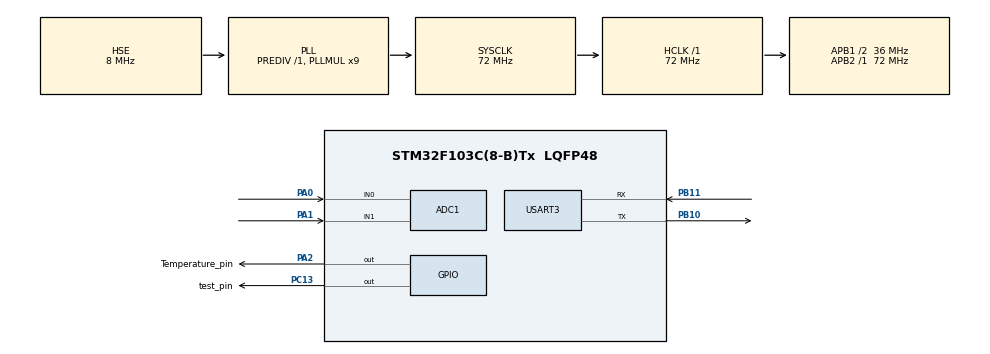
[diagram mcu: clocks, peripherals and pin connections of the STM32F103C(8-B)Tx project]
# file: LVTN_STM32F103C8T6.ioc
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ADC1.Channel-0\#ChannelRegularConversion=ADC_CHANNEL_0
ADC1.Channel-1\#ChannelRegularConversion=ADC_CHANNEL_1
ADC1.ContinuousConvMode=ENABLE
ADC1.NbrOfConversion=2
ADC1.NbrOfConversionFlag=1
ADC1.Rank-0\#ChannelRegularConversion=1
ADC1.Rank-1\#ChannelRegularConversion=2
ADC1.SamplingTime-0\#ChannelRegularConversion=ADC_SAMPLETIME_239CYCLES_5
ADC1.SamplingTime-1\#ChannelRegularConversion=ADC_SAMPLETIME_28CYCLES_5
ADC1.master=1
Dma.ADC1.0.Direction=DMA_PERIPH_TO_MEMORY
Dma.ADC1.0.Instance=DMA1_Channel1
Dma.ADC1.0.MemDataAlignment=DMA_MDATAALIGN_HALFWORD
Dma.ADC1.0.MemInc=DMA_MINC_ENABLE
Dma.ADC1.0.Mode=DMA_CIRCULAR
Dma.ADC1.0.PeriphDataAlignment=DMA_PDATAALIGN_HALFWORD
Dma.ADC1.0.PeriphInc=DMA_PINC_DISABLE
Dma.ADC1.0.Priority=DMA_PRIORITY_LOW
Dma.Request0=ADC1
Mcu.Family=STM32F1
Mcu.Name=STM32F103C(8-B)Tx
Mcu.Package=LQFP48
NVIC.DMA1_Channel1_IRQn=true\:0\:0\:false\:false\:true\:false\:true\:true
NVIC.PriorityGroup=NVIC_PRIORITYGROUP_4
NVIC.TIM2_IRQn=true\:0\:0\:false\:false\:true\:true\:true\:true
PA0-WKUP.Signal=ADCx_IN0
PA1.Signal=ADCx_IN1
PA13.Mode=Serial_Wire
PA13.Signal=SYS_JTMS-SWDIO
PA14.Mode=Serial_Wire
PA14.Signal=SYS_JTCK-SWCLK
PA2.GPIO_Label=Temperature_pin
PA2.Signal=GPIO_Output
PB10.Mode=Asynchronous
PB10.Signal=USART3_TX
PB11.Mode=Asynchronous
PB11.Signal=USART3_RX
PC13-TAMPER-RTC.GPIO_Label=test_pin
PC13-TAMPER-RTC.Signal=GPIO_Output
PD0-OSC_IN.Mode=HSE-External-Oscillator
PD0-OSC_IN.Signal=RCC_OSC_IN
PD1-OSC_OUT.Mode=HSE-External-Oscillator
PD1-OSC_OUT.Signal=RCC_OSC_OUT
ProjectManager.HeapSize=0x200
ProjectManager.StackSize=0x400
ProjectManager.TargetToolchain=STM32CubeIDE
RCC.ADCPresc=RCC_ADCPCLK2_DIV6
RCC.AHBFreq_Value=72000000
RCC.APB1CLKDivider=RCC_HCLK_DIV2
RCC.APB1Freq_Value=36000000
RCC.APB1TimFreq_Value=72000000
RCC.APB2Freq_Value=72000000
RCC.APB2TimFreq_Value=72000000
RCC.HCLKFreq_Value=72000000
RCC.PLLMUL=RCC_PLL_MUL9
RCC.PLLSourceVirtual=RCC_PLLSOURCE_HSE
RCC.SYSCLKFreq_VALUE=72000000
RCC.SYSCLKSource=RCC_SYSCLKSOURCE_PLLCLK
RCC.USBFreq_Value=72000000
SH.ADCx_IN0.0=ADC1_IN0,IN0
SH.ADCx_IN1.0=ADC1_IN1,IN1
TIM2.Period=14400-1
TIM2.Prescaler=50000-1
TIM4.Period=65535-1
TIM4.Prescaler=72-1
USART3.VirtualMode=VM_ASYNC
VP_TIM2_VS_ClockSourceINT.Mode=Internal
VP_TIM4_VS_ClockSourceINT.Mode=Internal
board=custom

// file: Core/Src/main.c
/* USER CODE BEGIN Header */
/**
  ******************************************************************************
  * @file           : main.c
  * @brief          : Main program body
  ******************************************************************************
  * @attention
  *
  * Copyright (c) 2023 STMicroelectronics.
  * All rights reserved.
  *
  * This software is licensed under terms that can be found in the LICENSE file
  * in the root directory of this software component.
  * If no LICENSE file comes with this software, it is provided AS-IS.
  *
  ******************************************************************************
  */
/* USER CODE END Header */
#include "main.h"

/* USER CODE BEGIN Includes */
#include<stdio.h>
#include<string.h>
/* USER CODE END Includes */

ADC_HandleTypeDef hadc1;
DMA_HandleTypeDef hdma_adc1;

TIM_HandleTypeDef htim2;
TIM_HandleTypeDef htim4;

UART_HandleTypeDef huart3;

void SystemClock_Config(void);
static void MX_GPIO_Init(void);
static void MX_DMA_Init(void);
static void MX_ADC1_Init(void);
static void MX_TIM4_Init(void);
static void MX_TIM2_Init(void);
static void MX_USART3_UART_Init(void);

/* USER CODE BEGIN 0 */
float TDS = 0,TDS_THR= 0,PH = 0,PH_THR = 0,Temperature = 0;
float 	ph_a_value = 0,ph_b_value = 0,tds_k_value = 0;
uint16_t ADC_Value[2] = {0};
void delay_us(uint16_t time)
{
    __HAL_TIM_SET_COUNTER(&htim4,0);
    while ((__HAL_TIM_GET_COUNTER(&htim4))<time);
}

/*=====================================DS18B20_Start=================================*/
uint8_t Temp_byte1, Temp_byte2;
uint16_t TEMP;
#define DS18B20_PORT Temperature_pin_GPIO_Port
#define DS18B20_PIN Temperature_pin_Pin

void Set_Pin_Output (GPIO_TypeDef *GPIOx, uint16_t GPIO_Pin)
{
	GPIO_InitTypeDef GPIO_InitStruct = {0};
	GPIO_InitStruct.Pin = GPIO_Pin;
	GPIO_InitStruct.Mode = GPIO_MODE_OUTPUT_PP;
	GPIO_InitStruct.Speed = GPIO_SPEED_FREQ_LOW;
	HAL_GPIO_Init(GPIOx, &GPIO_InitStruct);
}
void Set_Pin_Input (GPIO_TypeDef *GPIOx, uint16_t GPIO_Pin)
{
	GPIO_InitTypeDef GPIO_InitStruct = {0};
	GPIO_InitStruct.Pin = GPIO_Pin;
	GPIO_InitStruct.Mode = GPIO_MODE_INPUT;
	GPIO_InitStruct.Pull = GPIO_PULLUP;
	HAL_GPIO_Init(GPIOx, &GPIO_InitStruct);
}

uint8_t DS18B20_Start (void)
{
	uint8_t Response = 0;
	Set_Pin_Output(DS18B20_PORT, DS18B20_PIN);   // set the pin as output
	HAL_GPIO_WritePin (DS18B20_PORT, DS18B20_PIN, 0);  // pull the pin low
	delay_us(480);   // delay according to datasheet

	Set_Pin_Input(DS18B20_PORT, DS18B20_PIN);    // set the pin as input
	delay_us(80);    // delay according to datasheet

	if (!(HAL_GPIO_ReadPin (DS18B20_PORT, DS18B20_PIN))) Response = 1;    // if the pin is low i.e the presence pulse is detected
	else Response = -1;

	delay_us(400); // 480 us delay totally.

	return Response;
}

void DS18B20_Write (uint8_t data)
{
	Set_Pin_Output(DS18B20_PORT, DS18B20_PIN);  // set as output

	for (int i=0; i<8; i++)
	{
		if ((data & (1<<i))!=0)  // if the bit is high
		{
			// write 1

			Set_Pin_Output(DS18B20_PORT, DS18B20_PIN);  // set as output
			HAL_GPIO_WritePin (DS18B20_PORT, DS18B20_PIN, 0);  // pull the pin LOW
			delay_us(1);  // wait for 1 us

			Set_Pin_Input(DS18B20_PORT, DS18B20_PIN);  // set as input
			delay_us(50);  // wait for 60 us
		}

		else  // if the bit is low
		{
			// write 0
			Set_Pin_Output(DS18B20_PORT, DS18B20_PIN);
			HAL_GPIO_WritePin (DS18B20_PORT, DS18B20_PIN, 0);  // pull the pin LOW
			delay_us(50);  // wait for 60 us
			Set_Pin_Input(DS18B20_PORT, DS18B20_PIN);
		}
	}
}

uint8_t DS18B20_Read (void)
{
	uint8_t value=0;

	Set_Pin_Input(DS18B20_PORT, DS18B20_PIN);

	for (int i=0;i<8;i++)
	{
		Set_Pin_Output(DS18B20_PORT, DS18B20_PIN);   // set as output

		HAL_GPIO_WritePin (DS18B20_PORT, DS18B20_PIN, 0);  // pull the data pin LOW
		delay_us(1);  // wait for > 1us

		Set_Pin_Input(DS18B20_PORT, DS18B20_PIN);  // set as input
		if (HAL_GPIO_ReadPin (DS18B20_PORT, DS18B20_PIN))  // if the pin is HIGH
		{
			value |= 1<<i;  // read = 1
		}
		delay_us(50);  // wait for 60 us
	}
	return value;
}

float Get_Temperature_DS18B20()
{
		  DS18B20_Start ();
		  HAL_Delay(1);
		  DS18B20_Write (0xCC);  // skip ROM
		  DS18B20_Write (0x44);  // convert t
		  HAL_Delay (800);

		  DS18B20_Start ();
	      HAL_Delay(1);
	      DS18B20_Write (0xCC);  // skip ROM
	      DS18B20_Write (0xBE);  // Read Scratch-pad
	      Temp_byte1 = DS18B20_Read();
		  Temp_byte2 = DS18B20_Read();
		  TEMP = (Temp_byte2<<8)|Temp_byte1;
		  return (float)TEMP/16;
}
/*=====================================DS18B20_End=================================*/
/*=====================================Interrupt_Start=========================*/
void HAL_TIM_PeriodElapsedCallback(TIM_HandleTypeDef *htim)
{
	 if(htim->Instance == htim2.Instance)
	 {
	   HAL_GPIO_TogglePin(test_pin_GPIO_Port,test_pin_Pin);
	   Send_data();
	 }
}

char buffer_send[100];

void Send_data()
{
	HAL_UART_Transmit(&huart3, (uint8_t*)buffer_send, strlen(buffer_send), 200);
}
/*=====================================Interrupt_End=========================*/
/* USER CODE END 0 */

int main(void)
{

  /* MCU Configuration--------------------------------------------------------*/

  /* Reset of all peripherals, Initializes the Flash interface and the Systick. */
  HAL_Init();

  /* Configure the system clock */
  SystemClock_Config();

  /* Initialize all configured peripherals */
  MX_GPIO_Init();
  MX_DMA_Init();
  MX_ADC1_Init();
  MX_TIM4_Init();
  MX_TIM2_Init();
  MX_USART3_UART_Init();
  /* USER CODE BEGIN 2 */
  HAL_TIM_Base_Start_IT(&htim2);
  HAL_TIM_Base_Start(&htim4);
  uint32_t count =0;
  /* USER CODE END 2 */

  /* Infinite loop */
  /* USER CODE BEGIN WHILE */
  while (1)
  {
	  if(count == 2000)
	  {
		  HAL_ADC_Start_DMA(&hadc1,(uint32_t*)ADC_Value, 2);
		  PH = ((-0.00467)*(float)ADC_Value[0] + 15.5714);
		  TDS = 0.3846 * (float)ADC_Value[1];
		  Temperature = Get_Temperature_DS18B20();
		  memset(buffer_send,0,strlen(buffer_send));
		  sprintf(buffer_send,"{\"ID\":\"12345678\",\"PH\":\"%.2f\",\"TDS\":\"%.0f\",\"Temp\":\"%.2f\"}",PH,TDS,Temperature);
		  count =0;
	  }
	  count++;
    /* USER CODE END WHILE */

  }
}

void SystemClock_Config(void)
{
  RCC_OscInitTypeDef RCC_OscInitStruct = {0};
  RCC_ClkInitTypeDef RCC_ClkInitStruct = {0};
  RCC_PeriphCLKInitTypeDef PeriphClkInit = {0};

  /** Initializes the RCC Oscillators according to the specified parameters
  * in the RCC_OscInitTypeDef structure.
  */
  RCC_OscInitStruct.OscillatorType = RCC_OSCILLATORTYPE_HSE;
  RCC_OscInitStruct.HSEState = RCC_HSE_ON;
  RCC_OscInitStruct.HSEPredivValue = RCC_HSE_PREDIV_DIV1;
  RCC_OscInitStruct.HSIState = RCC_HSI_ON;
  RCC_OscInitStruct.PLL.PLLState = RCC_PLL_ON;
  RCC_OscInitStruct.PLL.PLLSource = RCC_PLLSOURCE_HSE;
  RCC_OscInitStruct.PLL.PLLMUL = RCC_PLL_MUL9;
  if (HAL_RCC_OscConfig(&RCC_OscInitStruct) != HAL_OK)
  {
    Error_Handler();
  }

  /** Initializes the CPU, AHB and APB buses clocks
  */
  RCC_ClkInitStruct.ClockType = RCC_CLOCKTYPE_HCLK|RCC_CLOCKTYPE_SYSCLK
                              |RCC_CLOCKTYPE_PCLK1|RCC_CLOCKTYPE_PCLK2;
  RCC_ClkInitStruct.SYSCLKSource = RCC_SYSCLKSOURCE_PLLCLK;
  RCC_ClkInitStruct.AHBCLKDivider = RCC_SYSCLK_DIV1;
  RCC_ClkInitStruct.APB1CLKDivider = RCC_HCLK_DIV2;
  RCC_ClkInitStruct.APB2CLKDivider = RCC_HCLK_DIV1;

  if (HAL_RCC_ClockConfig(&RCC_ClkInitStruct, FLASH_LATENCY_2) != HAL_OK)
  {
    Error_Handler();
  }
  PeriphClkInit.PeriphClockSelection = RCC_PERIPHCLK_ADC;
  PeriphClkInit.AdcClockSelection = RCC_ADCPCLK2_DIV6;
  if (HAL_RCCEx_PeriphCLKConfig(&PeriphClkInit) != HAL_OK)
  {
    Error_Handler();
  }
}

static void MX_ADC1_Init(void)
{

  ADC_ChannelConfTypeDef sConfig = {0};

  /** Common config
  */
  hadc1.Instance = ADC1;
  hadc1.Init.ScanConvMode = ADC_SCAN_ENABLE;
  hadc1.Init.ContinuousConvMode = ENABLE;
  hadc1.Init.DiscontinuousConvMode = DISABLE;
  hadc1.Init.ExternalTrigConv = ADC_SOFTWARE_START;
  hadc1.Init.DataAlign = ADC_DATAALIGN_RIGHT;
  hadc1.Init.NbrOfConversion = 2;
  if (HAL_ADC_Init(&hadc1) != HAL_OK)
  {
    Error_Handler();
  }

  /** Configure Regular Channel
  */
  sConfig.Channel = ADC_CHANNEL_0;
  sConfig.Rank = ADC_REGULAR_RANK_1;
  sConfig.SamplingTime = ADC_SAMPLETIME_239CYCLES_5;
  if (HAL_ADC_ConfigChannel(&hadc1, &sConfig) != HAL_OK)
  {
    Error_Handler();
  }

  /** Configure Regular Channel
  */
  sConfig.Channel = ADC_CHANNEL_1;
  sConfig.Rank = ADC_REGULAR_RANK_2;
  sConfig.SamplingTime = ADC_SAMPLETIME_28CYCLES_5;
  if (HAL_ADC_ConfigChannel(&hadc1, &sConfig) != HAL_OK)
  {
    Error_Handler();
  }

}

static void MX_TIM2_Init(void)
{

  TIM_ClockConfigTypeDef sClockSourceConfig = {0};
  TIM_MasterConfigTypeDef sMasterConfig = {0};

  htim2.Instance = TIM2;
  htim2.Init.Prescaler = 50000-1;
  htim2.Init.CounterMode = TIM_COUNTERMODE_UP;
  htim2.Init.Period = 14400-1;
  htim2.Init.ClockDivision = TIM_CLOCKDIVISION_DIV1;
  htim2.Init.AutoReloadPreload = TIM_AUTORELOAD_PRELOAD_DISABLE;
  if (HAL_TIM_Base_Init(&htim2) != HAL_OK)
  {
    Error_Handler();
  }
  sClockSourceConfig.ClockSource = TIM_CLOCKSOURCE_INTERNAL;
  if (HAL_TIM_ConfigClockSource(&htim2, &sClockSourceConfig) != HAL_OK)
  {
    Error_Handler();
  }
  sMasterConfig.MasterOutputTrigger = TIM_TRGO_RESET;
  sMasterConfig.MasterSlaveMode = TIM_MASTERSLAVEMODE_DISABLE;
  if (HAL_TIMEx_MasterConfigSynchronization(&htim2, &sMasterConfig) != HAL_OK)
  {
    Error_Handler();
  }

}

static void MX_TIM4_Init(void)
{

  TIM_ClockConfigTypeDef sClockSourceConfig = {0};
  TIM_MasterConfigTypeDef sMasterConfig = {0};

  htim4.Instance = TIM4;
  htim4.Init.Prescaler = 72-1;
  htim4.Init.CounterMode = TIM_COUNTERMODE_UP;
  htim4.Init.Period = 65535-1;
  htim4.Init.ClockDivision = TIM_CLOCKDIVISION_DIV1;
  htim4.Init.AutoReloadPreload = TIM_AUTORELOAD_PRELOAD_DISABLE;
  if (HAL_TIM_Base_Init(&htim4) != HAL_OK)
  {
    Error_Handler();
  }
  sClockSourceConfig.ClockSource = TIM_CLOCKSOURCE_INTERNAL;
  if (HAL_TIM_ConfigClockSource(&htim4, &sClockSourceConfig) != HAL_OK)
  {
    Error_Handler();
  }
  sMasterConfig.MasterOutputTrigger = TIM_TRGO_RESET;
  sMasterConfig.MasterSlaveMode = TIM_MASTERSLAVEMODE_DISABLE;
  if (HAL_TIMEx_MasterConfigSynchronization(&htim4, &sMasterConfig) != HAL_OK)
  {
    Error_Handler();
  }

}

static void MX_USART3_UART_Init(void)
{

  huart3.Instance = USART3;
  huart3.Init.BaudRate = 115200;
  huart3.Init.WordLength = UART_WORDLENGTH_8B;
  huart3.Init.StopBits = UART_STOPBITS_1;
  huart3.Init.Parity = UART_PARITY_NONE;
  huart3.Init.Mode = UART_MODE_TX_RX;
  huart3.Init.HwFlowCtl = UART_HWCONTROL_NONE;
  huart3.Init.OverSampling = UART_OVERSAMPLING_16;
  if (HAL_UART_Init(&huart3) != HAL_OK)
  {
    Error_Handler();
  }

}

static void MX_DMA_Init(void)
{

  /* DMA controller clock enable */
  __HAL_RCC_DMA1_CLK_ENABLE();

  /* DMA interrupt init */
  /* DMA1_Channel1_IRQn interrupt configuration */
  HAL_NVIC_SetPriority(DMA1_Channel1_IRQn, 0, 0);
  HAL_NVIC_EnableIRQ(DMA1_Channel1_IRQn);

}

static void MX_GPIO_Init(void)
{
  GPIO_InitTypeDef GPIO_InitStruct = {0};

  /* GPIO Ports Clock Enable */
  __HAL_RCC_GPIOC_CLK_ENABLE();
  __HAL_RCC_GPIOD_CLK_ENABLE();
  __HAL_RCC_GPIOA_CLK_ENABLE();
  __HAL_RCC_GPIOB_CLK_ENABLE();

  /*Configure GPIO pin Output Level */
  HAL_GPIO_WritePin(test_pin_GPIO_Port, test_pin_Pin, GPIO_PIN_RESET);

  /*Configure GPIO pin Output Level */
  HAL_GPIO_WritePin(Temperature_pin_GPIO_Port, Temperature_pin_Pin, GPIO_PIN_RESET);

  /*Configure GPIO pin : test_pin_Pin */
  GPIO_InitStruct.Pin = test_pin_Pin;
  GPIO_InitStruct.Mode = GPIO_MODE_OUTPUT_PP;
  GPIO_InitStruct.Pull = GPIO_NOPULL;
  GPIO_InitStruct.Speed = GPIO_SPEED_FREQ_LOW;
  HAL_GPIO_Init(test_pin_GPIO_Port, &GPIO_InitStruct);

  /*Configure GPIO pin : Temperature_pin_Pin */
  GPIO_InitStruct.Pin = Temperature_pin_Pin;
  GPIO_InitStruct.Mode = GPIO_MODE_OUTPUT_PP;
  GPIO_InitStruct.Pull = GPIO_NOPULL;
  GPIO_InitStruct.Speed = GPIO_SPEED_FREQ_LOW;
  HAL_GPIO_Init(Temperature_pin_GPIO_Port, &GPIO_InitStruct);

}

void Error_Handler(void)
{
  __disable_irq();
  while (1)
  {
  }
}
